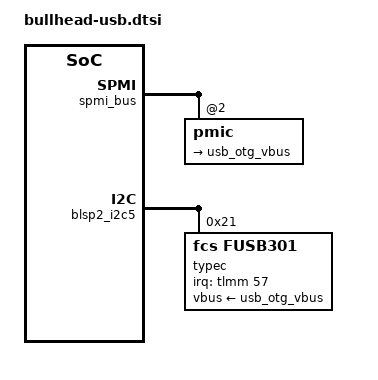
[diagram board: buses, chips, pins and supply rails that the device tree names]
// SPDX-License-Identifier: GPL-2.0-only
/*
 * USB host for keyboards and mice, or device (the USB network) for a PC,
 * chosen by the Type-C CC controller.
 *
 * - FUSB301 (3.10 lge/msm8992-bullhead-misc.dtsi fusb301@21): i2c_5 (BLSP2
 *   QUP5, 0xf9967000) at 0x21, interrupt GPIO 57 falling edge. Kernel patch
 *   "usb: misc: add FUSB301".
 * - VBUS out: the PMI8994 charger's OTG boost (otg block 0x1100, battery
 *   interface 0x1200 on SPMI USID 2). Kernel patch "regulator: add PMI8994
 *   OTG boost".
 * - dwc3 dual role, gadget by default so the PC link works without the
 *   FUSB301 driver too.
 *
 * The BLSP BAM DMA engines do not probe here: the bus runs in PIO mode.
 */
&spmi_bus {
	pmic@2 {
		usb_otg_vbus: usb-otg-vbus@1100 {
			compatible = "qcom,pmi8994-otg-vbus";
			reg = <0x1100>, <0x1200>;
			regulator-name = "usb_otg_vbus";
		};
	};
};

&usb3 {
	usb3_dwc3: usb@f9200000 {
		dr_mode = "otg";
		usb-role-switch;
		role-switch-default-mode = "peripheral";
	};
};

&blsp2_i2c5 {
	status = "okay";
	/delete-property/ dmas;
	/delete-property/ dma-names;

	typec@21 {
		compatible = "fcs,fusb301";
		reg = <0x21>;
		interrupts-extended = <&tlmm 57 IRQ_TYPE_EDGE_FALLING>;
		pinctrl-names = "default";
		pinctrl-0 = <&fusb301_int_default>;
		vbus-supply = <&usb_otg_vbus>;
		usb-role-switch = <&usb3_dwc3>;
	};
};

&tlmm {
	fusb301_int_default: fusb301-int-default-state {
		pins = "gpio57";
		function = "gpio";
		drive-strength = <2>;
		bias-pull-up;
	};
};
